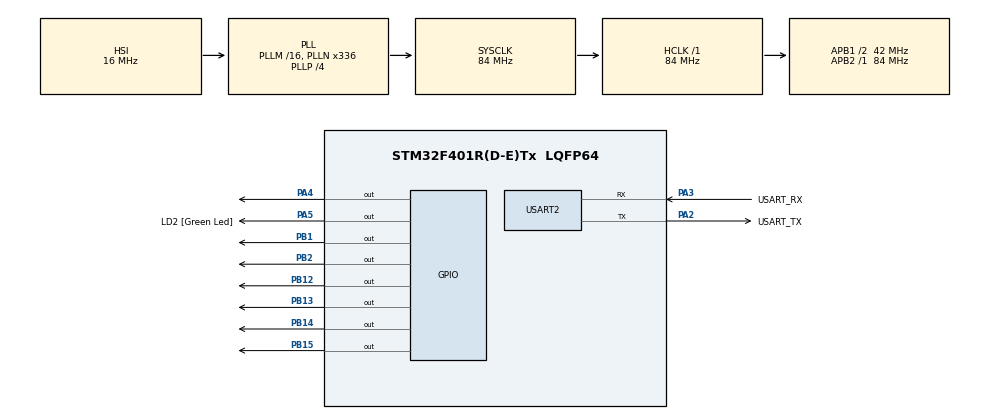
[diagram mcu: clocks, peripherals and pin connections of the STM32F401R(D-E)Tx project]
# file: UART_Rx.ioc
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Dma.Request0=USART2_RX
Dma.USART2_RX.0.Direction=DMA_PERIPH_TO_MEMORY
Dma.USART2_RX.0.FIFOMode=DMA_FIFOMODE_DISABLE
Dma.USART2_RX.0.Instance=DMA1_Stream5
Dma.USART2_RX.0.MemDataAlignment=DMA_MDATAALIGN_BYTE
Dma.USART2_RX.0.MemInc=DMA_MINC_ENABLE
Dma.USART2_RX.0.Mode=DMA_NORMAL
Dma.USART2_RX.0.PeriphDataAlignment=DMA_PDATAALIGN_BYTE
Dma.USART2_RX.0.PeriphInc=DMA_PINC_DISABLE
Dma.USART2_RX.0.Priority=DMA_PRIORITY_HIGH
Mcu.Family=STM32F4
Mcu.Name=STM32F401R(D-E)Tx
Mcu.Package=LQFP64
NVIC.DMA1_Stream5_IRQn=true\:0\:0\:false\:false\:true\:false\:true\:true
NVIC.PriorityGroup=NVIC_PRIORITYGROUP_0
NVIC.USART2_IRQn=true\:0\:0\:false\:false\:true\:true\:true\:true
PA13.GPIO_Label=TMS
PA13.Mode=Serial_Wire
PA13.Signal=SYS_JTMS-SWDIO
PA14.GPIO_Label=TCK
PA14.Mode=Serial_Wire
PA14.Signal=SYS_JTCK-SWCLK
PA2.GPIO_Label=USART_TX
PA2.GPIO_Mode=GPIO_MODE_AF_PP
PA2.GPIO_PuPd=GPIO_NOPULL
PA2.GPIO_Speed=GPIO_SPEED_FREQ_LOW
PA2.Mode=Asynchronous
PA2.Signal=USART2_TX
PA3.GPIO_Label=USART_RX
PA3.GPIO_Mode=GPIO_MODE_AF_PP
PA3.GPIO_PuPd=GPIO_NOPULL
PA3.GPIO_Speed=GPIO_SPEED_FREQ_LOW
PA3.Mode=Asynchronous
PA3.Signal=USART2_RX
PA4.Signal=GPIO_Output
PA5.GPIO_Label=LD2 [Green Led]
PA5.GPIO_Mode=GPIO_MODE_OUTPUT_PP
PA5.GPIO_PuPd=GPIO_NOPULL
PA5.GPIO_Speed=GPIO_SPEED_FREQ_LOW
PA5.Signal=GPIO_Output
PB1.Signal=GPIO_Output
PB12.Signal=GPIO_Output
PB13.Signal=GPIO_Output
PB14.Signal=GPIO_Output
PB15.Signal=GPIO_Output
PB2.Signal=GPIO_Output
PB3.GPIO_Label=SWO
PB3.Signal=SYS_JTDO-SWO
PC14-OSC32_IN.Mode=LSE-External-Oscillator
PC14-OSC32_IN.Signal=RCC_OSC32_IN
PC15-OSC32_OUT.Mode=LSE-External-Oscillator
PC15-OSC32_OUT.Signal=RCC_OSC32_OUT
PH0\ -\ OSC_IN.Mode=HSE-External-Clock-Source
PH0\ -\ OSC_IN.Signal=RCC_OSC_IN
PH1\ -\ OSC_OUT.Mode=HSE-External-Clock-Source
PH1\ -\ OSC_OUT.Signal=RCC_OSC_OUT
ProjectManager.HeapSize=0x200
ProjectManager.StackSize=0x400
ProjectManager.TargetToolchain=STM32CubeIDE
RCC.48MHZClocksFreq_Value=48000000
RCC.AHBFreq_Value=84000000
RCC.APB1CLKDivider=RCC_HCLK_DIV2
RCC.APB1Freq_Value=42000000
RCC.APB1TimFreq_Value=84000000
RCC.APB2Freq_Value=84000000
RCC.APB2TimFreq_Value=84000000
RCC.CortexFreq_Value=84000000
RCC.HCLKFreq_Value=84000000
RCC.HSE_VALUE=8000000
RCC.HSI_VALUE=16000000
RCC.PLLN=336
RCC.PLLP=RCC_PLLP_DIV4
RCC.PLLQ=7
RCC.SYSCLKFreq_VALUE=84000000
RCC.SYSCLKSource=RCC_SYSCLKSOURCE_PLLCLK
RCC.VCOOutputFreq_Value=336000000
USART2.VirtualMode=VM_ASYNC
board=NUCLEO-F401RE

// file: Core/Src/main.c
/* USER CODE BEGIN Header */
/**
  ******************************************************************************
  * @file           : main.c
  * @brief          : Main program body
  ******************************************************************************
  * @attention
  *
  * Copyright (c) 2024 STMicroelectronics.
  * All rights reserved.
  *
  * This software is licensed under terms that can be found in the LICENSE file
  * in the root directory of this software component.
  * If no LICENSE file comes with this software, it is provided AS-IS.
  *
  ******************************************************************************
  */
/* USER CODE END Header */
#include "main.h"

/* USER CODE BEGIN Includes */
#include "PMDB16_LCD.h"
/* USER CODE END Includes */

UART_HandleTypeDef huart2;
DMA_HandleTypeDef hdma_usart2_rx;

void SystemClock_Config(void);
static void MX_GPIO_Init(void);
static void MX_DMA_Init(void);
static void MX_USART2_UART_Init(void);

/* USER CODE BEGIN 0 */
#define LENGTH 16		// RxData dimension, it is set as the LCD maximum characters in a line
#define CHAR_SIZE 2		// The number of characters that can be sent as information size (ex: min = 01, max = 99)

uint8_t RxData[LENGTH]; // Array that contains the received data
uint8_t	size[CHAR_SIZE];     // Array that contains the ASCII information of the data transfer size
uint8_t packet_size;         // The size of the packet that has to be received, converted into integer
int rx_flag = 0;             // Packet Size Received Flag
char c;			    		 // It stores char of RxData[i]
char string[LENGTH] = {0};   // It stores the entire string received
int row = 0;		 // LCD line selector

void HAL_UART_RxCpltCallback(UART_HandleTypeDef *huart) {
	if (rx_flag == 0) { // The size information has been just received
		rx_flag = 1;	// Set the received size information flag to 1 (1 = received)
		packet_size = (size[0] - 48)*10 + (size[1] - 48); // Integer values in ASCII table correspond to the received ASCII value - 48
		HAL_UART_Receive_DMA(&huart2, RxData, packet_size); // Then proceed with data transfer
	}
	else { // Printing the old data transfer string into LCD, and getting the size information of the new data transfer
	    for (int i = 0; i < packet_size; i++) { //Convert the received integer data into a string data
			sprintf(&c, "%c", RxData[i]);	//convert data into a char
	        strcat(string, &c);				//Add to the string the new letter (or number/symbol)
	        RxData[i] = 0;					//Empty the RxData[i]
	    }
	    lcd_clear();						// Clear the display
	    lcd_println(string, row);			// Print the new word
	    memset(string, 0, sizeof(string));	// Delete the string, ready to store the new data burst
	    rx_flag = 0;						// Ready to receive
		HAL_UART_Receive_DMA(&huart2, size, CHAR_SIZE); // Proceed with getting the length of the new data transmission
	}
}
/* USER CODE END 0 */

int main(void)
{

  /* MCU Configuration--------------------------------------------------------*/

  /* Reset of all peripherals, Initializes the Flash interface and the Systick. */
  HAL_Init();

  /* Configure the system clock */
  SystemClock_Config();

  /* Initialize all configured peripherals */
  MX_GPIO_Init();
  MX_DMA_Init();
  MX_USART2_UART_Init();
  /* USER CODE BEGIN 2 */
  lcd_initialize();
  lcd_clear();
  HAL_UART_Receive_DMA(&huart2, size, CHAR_SIZE); // Receive the first info about the length of the first data transmission
  /* USER CODE END 2 */

  /* Infinite loop */
  while (1)
  {

  }
}

void SystemClock_Config(void)
{
  RCC_OscInitTypeDef RCC_OscInitStruct = {0};
  RCC_ClkInitTypeDef RCC_ClkInitStruct = {0};

  /** Configure the main internal regulator output voltage
  */
  __HAL_RCC_PWR_CLK_ENABLE();
  __HAL_PWR_VOLTAGESCALING_CONFIG(PWR_REGULATOR_VOLTAGE_SCALE2);

  /** Initializes the RCC Oscillators according to the specified parameters
  * in the RCC_OscInitTypeDef structure.
  */
  RCC_OscInitStruct.OscillatorType = RCC_OSCILLATORTYPE_HSI;
  RCC_OscInitStruct.HSIState = RCC_HSI_ON;
  RCC_OscInitStruct.HSICalibrationValue = RCC_HSICALIBRATION_DEFAULT;
  RCC_OscInitStruct.PLL.PLLState = RCC_PLL_ON;
  RCC_OscInitStruct.PLL.PLLSource = RCC_PLLSOURCE_HSI;
  RCC_OscInitStruct.PLL.PLLM = 16;
  RCC_OscInitStruct.PLL.PLLN = 336;
  RCC_OscInitStruct.PLL.PLLP = RCC_PLLP_DIV4;
  RCC_OscInitStruct.PLL.PLLQ = 7;
  if (HAL_RCC_OscConfig(&RCC_OscInitStruct) != HAL_OK)
  {
    Error_Handler();
  }

  /** Initializes the CPU, AHB and APB buses clocks
  */
  RCC_ClkInitStruct.ClockType = RCC_CLOCKTYPE_HCLK|RCC_CLOCKTYPE_SYSCLK
                              |RCC_CLOCKTYPE_PCLK1|RCC_CLOCKTYPE_PCLK2;
  RCC_ClkInitStruct.SYSCLKSource = RCC_SYSCLKSOURCE_PLLCLK;
  RCC_ClkInitStruct.AHBCLKDivider = RCC_SYSCLK_DIV1;
  RCC_ClkInitStruct.APB1CLKDivider = RCC_HCLK_DIV2;
  RCC_ClkInitStruct.APB2CLKDivider = RCC_HCLK_DIV1;

  if (HAL_RCC_ClockConfig(&RCC_ClkInitStruct, FLASH_LATENCY_2) != HAL_OK)
  {
    Error_Handler();
  }
}

static void MX_USART2_UART_Init(void)
{

  huart2.Instance = USART2;
  huart2.Init.BaudRate = 115200;
  huart2.Init.WordLength = UART_WORDLENGTH_8B;
  huart2.Init.StopBits = UART_STOPBITS_1;
  huart2.Init.Parity = UART_PARITY_NONE;
  huart2.Init.Mode = UART_MODE_TX_RX;
  huart2.Init.HwFlowCtl = UART_HWCONTROL_NONE;
  huart2.Init.OverSampling = UART_OVERSAMPLING_16;
  if (HAL_UART_Init(&huart2) != HAL_OK)
  {
    Error_Handler();
  }

}

static void MX_DMA_Init(void)
{

  /* DMA controller clock enable */
  __HAL_RCC_DMA1_CLK_ENABLE();

  /* DMA interrupt init */
  /* DMA1_Stream5_IRQn interrupt configuration */
  HAL_NVIC_SetPriority(DMA1_Stream5_IRQn, 0, 0);
  HAL_NVIC_EnableIRQ(DMA1_Stream5_IRQn);

}

static void MX_GPIO_Init(void)
{
  GPIO_InitTypeDef GPIO_InitStruct = {0};

  /* GPIO Ports Clock Enable */
  __HAL_RCC_GPIOC_CLK_ENABLE();
  __HAL_RCC_GPIOH_CLK_ENABLE();
  __HAL_RCC_GPIOA_CLK_ENABLE();
  __HAL_RCC_GPIOB_CLK_ENABLE();

  /*Configure GPIO pin Output Level */
  HAL_GPIO_WritePin(GPIOA, GPIO_PIN_4|LD2_Pin, GPIO_PIN_RESET);

  /*Configure GPIO pin Output Level */
  HAL_GPIO_WritePin(GPIOB, GPIO_PIN_1|GPIO_PIN_2|GPIO_PIN_12|GPIO_PIN_13
                          |GPIO_PIN_14|GPIO_PIN_15, GPIO_PIN_RESET);

  /*Configure GPIO pins : PA4 LD2_Pin */
  GPIO_InitStruct.Pin = GPIO_PIN_4|LD2_Pin;
  GPIO_InitStruct.Mode = GPIO_MODE_OUTPUT_PP;
  GPIO_InitStruct.Pull = GPIO_NOPULL;
  GPIO_InitStruct.Speed = GPIO_SPEED_FREQ_LOW;
  HAL_GPIO_Init(GPIOA, &GPIO_InitStruct);

  /*Configure GPIO pins : PB1 PB2 PB12 PB13
                           PB14 PB15 */
  GPIO_InitStruct.Pin = GPIO_PIN_1|GPIO_PIN_2|GPIO_PIN_12|GPIO_PIN_13
                          |GPIO_PIN_14|GPIO_PIN_15;
  GPIO_InitStruct.Mode = GPIO_MODE_OUTPUT_PP;
  GPIO_InitStruct.Pull = GPIO_NOPULL;
  GPIO_InitStruct.Speed = GPIO_SPEED_FREQ_LOW;
  HAL_GPIO_Init(GPIOB, &GPIO_InitStruct);

}

void Error_Handler(void)
{
  __disable_irq();
  while (1)
  {
  }
}
